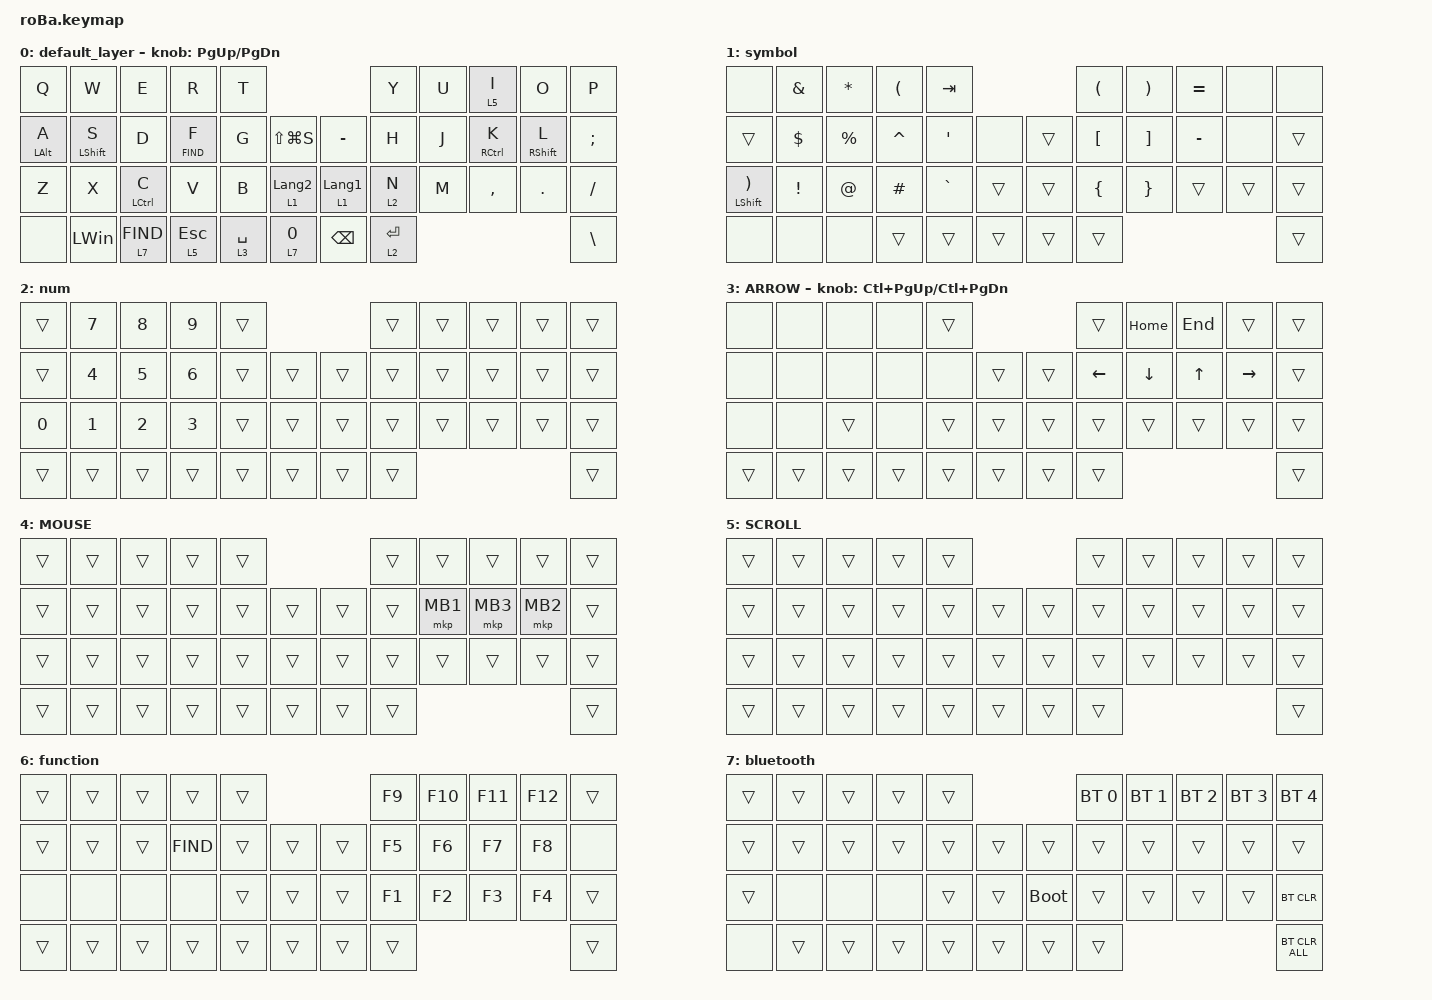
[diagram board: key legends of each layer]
#include <behaviors.dtsi>
#include <dt-bindings/zmk/bt.h>
#include <dt-bindings/zmk/keys.h>
#include <dt-bindings/zmk/pointing.h>

&mt {
    flavor = "balanced";
    quick-tap-ms = <0>;
    tapping-term-ms = <200>;
};

&trackball {
    automouse-layer = <4>;
    scroll-layers = <5>;

    // arrows {
    //     layers = <3>;
    //     bindings =
    //         <&kp RIGHT_ARROW>,
    //         <&kp LEFT_ARROW>,
    //         <&kp UP_ARROW>,
    //         <&kp DOWN_ARROW>;
    //     tick = <10>;
    //     wait-ms = <5>;
    //     tap-ms = <5>;
    // };
};

/ {
    combos {
        compatible = "zmk,combos";

        tab {
            bindings = <&kp TAB>;
            key-positions = <11 12>;
        };

        shift_tab {
            bindings = <&kp LS(TAB)>;
            key-positions = <12 13>;
        };

        muhennkann {
            bindings = <&to_layer_0 INT_MUHENKAN>;
            key-positions = <11 10>;
        };

        double_quotation {
            bindings = <&kp DOUBLE_QUOTES>;
            key-positions = <20 21>;
        };

        eq {
            bindings = <&kp EQUAL>;
            key-positions = <24 25>;
        };
    };

    macros {
        to_layer_0: to_layer_0 {
            compatible = "zmk,behavior-macro-one-param";
            #binding-cells = <1>;
            bindings = <&to 0 &macro_param_1to1 &kp MACRO_PLACEHOLDER>;
            label = "TO_LAYER_0";
        };
    };

    behaviors {
        lt_to_layer_0: lt_to_layer_0 {
            compatible = "zmk,behavior-hold-tap";
            label = "LAYER_TAP_TO_0";
            bindings = <&mo>, <&to_layer_0>;

            #binding-cells = <2>;
            tapping-term-ms = <200>;
        };
    };

    keymap {
        compatible = "zmk,keymap";

        default_layer {
            bindings = <
&kp Q           &kp W             &kp E         &kp R                 &kp T                                                &kp Y        &kp U  &lt 5 I      &kp O              &kp P
&mt LEFT_ALT A  &mt LEFT_SHIFT S  &kp D         &mt K_FIND F          &kp G        &kp LS(LG(S))         &kp MINUS         &kp H        &kp J  &mt RCTRL K  &mt RIGHT_SHIFT L  &kp SEMICOLON
&kp Z           &kp X             &mt LCTRL C   &kp V                 &kp B        &lt 1 LANGUAGE_2      &lt 1 LANGUAGE_1  &lt 2 N      &kp M  &kp COMMA    &kp DOT            &kp SLASH
&none           &kp LEFT_WIN      &lt 7 K_FIND  &lt_to_layer_0 5 ESC  &lt 3 SPACE  &lt 7 N0              &kp BACKSPACE     &lt 2 ENTER                                         &kp BACKSLASH
            >;

            sensor-bindings = <&inc_dec_kp PG_UP PAGE_DOWN>;
        };

        symbol {
            bindings = <
&none                             &kp AMPERSAND    &kp ASTERISK  &kp LEFT_PARENTHESIS  &kp TAB                        &kp LEFT_PARENTHESIS  &kp RIGHT_PARENTHESIS  &kp EQUAL  &none   &none
&trans                            &kp DOLLAR       &kp PERCENT   &kp CARET             &kp APOS   &none       &trans  &kp LBKT              &kp RBKT               &kp MINUS  &none   &trans
&mt LEFT_SHIFT RIGHT_PARENTHESIS  &kp EXCLAMATION  &kp AT        &kp HASH              &kp GRAVE  &trans      &trans  &kp LEFT_BRACE        &kp RIGHT_BRACE        &trans     &trans  &trans
&none                             &none            &none         &trans                &trans     &trans      &trans  &trans                                                          &trans
            >;
        };

        num {
            bindings = <
&trans  &kp N7  &kp N8  &kp N9  &trans                      &trans  &trans  &trans  &trans  &trans
&trans  &kp N4  &kp N5  &kp N6  &trans  &trans      &trans  &trans  &trans  &trans  &trans  &trans
&kp N0  &kp N1  &kp N2  &kp N3  &trans  &trans      &trans  &trans  &trans  &trans  &trans  &trans
&trans  &trans  &trans  &trans  &trans  &trans      &trans  &trans                          &trans
            >;
        };

        ARROW {
            bindings = <
&none   &none   &none   &none   &trans                      &trans    &kp HOME        &kp END       &trans     &trans
&none   &none   &none   &none   &none   &trans      &trans  &kp LEFT  &kp DOWN_ARROW  &kp UP_ARROW  &kp RIGHT  &trans
&none   &none   &trans  &none   &trans  &trans      &trans  &trans    &trans          &trans        &trans     &trans
&trans  &trans  &trans  &trans  &trans  &trans      &trans  &trans                                             &trans
            >;

            sensor-bindings = <&inc_dec_kp LC(PAGE_UP) LC(PAGE_DOWN)>;
        };

        MOUSE {
            bindings = <
&trans  &trans  &trans  &trans  &trans                      &trans  &trans    &trans    &trans    &trans
&trans  &trans  &trans  &trans  &trans  &trans      &trans  &trans  &mkp MB1  &mkp MB3  &mkp MB2  &trans
&trans  &trans  &trans  &trans  &trans  &trans      &trans  &trans  &trans    &trans    &trans    &trans
&trans  &trans  &trans  &trans  &trans  &trans      &trans  &trans                                &trans
            >;
        };

        SCROLL {
            bindings = <
&trans  &trans  &trans  &trans  &trans                      &trans  &trans  &trans  &trans  &trans
&trans  &trans  &trans  &trans  &trans  &trans      &trans  &trans  &trans  &trans  &trans  &trans
&trans  &trans  &trans  &trans  &trans  &trans      &trans  &trans  &trans  &trans  &trans  &trans
&trans  &trans  &trans  &trans  &trans  &trans      &trans  &trans                          &trans
            >;
        };

        function {
            bindings = <
&trans  &trans  &trans  &trans      &trans                      &kp F9  &kp F10  &kp F11  &kp F12  &trans
&trans  &trans  &trans  &kp K_FIND  &trans  &trans      &trans  &kp F5  &kp F6   &kp F7   &kp F8   &none
&none   &none   &none   &none       &trans  &trans      &trans  &kp F1  &kp F2   &kp F3   &kp F4   &trans
&trans  &trans  &trans  &trans      &trans  &trans      &trans  &trans                             &trans
            >;
        };

        bluetooth {
            bindings = <
&trans  &trans  &trans  &trans  &trans                           &bt BT_SEL 0  &bt BT_SEL 1  &bt BT_SEL 2  &bt BT_SEL 3  &bt BT_SEL 4
&trans  &trans  &trans  &trans  &trans  &trans      &trans       &trans        &trans        &trans        &trans        &trans
&trans  &none   &none   &none   &trans  &trans      &bootloader  &trans        &trans        &trans        &trans        &bt BT_CLR
&none   &trans  &trans  &trans  &trans  &trans      &trans       &trans                                                  &bt BT_CLR_ALL
            >;
        };
    };
};
